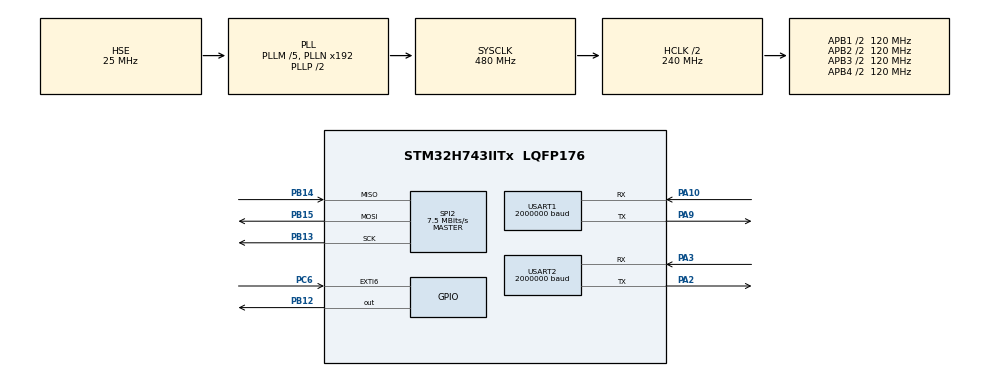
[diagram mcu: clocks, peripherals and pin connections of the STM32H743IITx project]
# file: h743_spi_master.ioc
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Dma.Request0=SPI2_RX
Dma.Request1=SPI2_TX
Dma.Request2=USART1_RX
Dma.Request3=USART1_TX
Dma.Request4=USART2_RX
Dma.Request5=USART2_TX
Dma.SPI2_RX.0.Direction=DMA_PERIPH_TO_MEMORY
Dma.SPI2_RX.0.EventEnable=DISABLE
Dma.SPI2_RX.0.FIFOMode=DMA_FIFOMODE_DISABLE
Dma.SPI2_RX.0.Instance=DMA1_Stream0
Dma.SPI2_RX.0.MemDataAlignment=DMA_MDATAALIGN_BYTE
Dma.SPI2_RX.0.MemInc=DMA_MINC_ENABLE
Dma.SPI2_RX.0.Mode=DMA_NORMAL
Dma.SPI2_RX.0.PeriphDataAlignment=DMA_PDATAALIGN_BYTE
Dma.SPI2_RX.0.PeriphInc=DMA_PINC_DISABLE
Dma.SPI2_RX.0.Polarity=HAL_DMAMUX_REQ_GEN_RISING
Dma.SPI2_RX.0.Priority=DMA_PRIORITY_LOW
Dma.SPI2_RX.0.RequestNumber=1
Dma.SPI2_RX.0.SignalID=NONE
Dma.SPI2_RX.0.SyncEnable=DISABLE
Dma.SPI2_RX.0.SyncPolarity=HAL_DMAMUX_SYNC_NO_EVENT
Dma.SPI2_RX.0.SyncRequestNumber=1
Dma.SPI2_RX.0.SyncSignalID=NONE
Dma.SPI2_TX.1.Direction=DMA_MEMORY_TO_PERIPH
Dma.SPI2_TX.1.EventEnable=DISABLE
Dma.SPI2_TX.1.FIFOMode=DMA_FIFOMODE_DISABLE
Dma.SPI2_TX.1.Instance=DMA1_Stream1
Dma.SPI2_TX.1.MemDataAlignment=DMA_MDATAALIGN_BYTE
Dma.SPI2_TX.1.MemInc=DMA_MINC_ENABLE
Dma.SPI2_TX.1.Mode=DMA_NORMAL
Dma.SPI2_TX.1.PeriphDataAlignment=DMA_PDATAALIGN_BYTE
Dma.SPI2_TX.1.PeriphInc=DMA_PINC_DISABLE
Dma.SPI2_TX.1.Polarity=HAL_DMAMUX_REQ_GEN_RISING
Dma.SPI2_TX.1.Priority=DMA_PRIORITY_LOW
Dma.SPI2_TX.1.RequestNumber=1
Dma.SPI2_TX.1.SignalID=NONE
Dma.SPI2_TX.1.SyncEnable=DISABLE
Dma.SPI2_TX.1.SyncPolarity=HAL_DMAMUX_SYNC_NO_EVENT
Dma.SPI2_TX.1.SyncRequestNumber=1
Dma.SPI2_TX.1.SyncSignalID=NONE
Dma.USART1_RX.2.Direction=DMA_PERIPH_TO_MEMORY
Dma.USART1_RX.2.EventEnable=DISABLE
Dma.USART1_RX.2.FIFOMode=DMA_FIFOMODE_DISABLE
Dma.USART1_RX.2.Instance=DMA1_Stream2
Dma.USART1_RX.2.MemDataAlignment=DMA_MDATAALIGN_BYTE
Dma.USART1_RX.2.MemInc=DMA_MINC_ENABLE
Dma.USART1_RX.2.Mode=DMA_NORMAL
Dma.USART1_RX.2.PeriphDataAlignment=DMA_PDATAALIGN_BYTE
Dma.USART1_RX.2.PeriphInc=DMA_PINC_DISABLE
Dma.USART1_RX.2.Polarity=HAL_DMAMUX_REQ_GEN_RISING
Dma.USART1_RX.2.Priority=DMA_PRIORITY_LOW
Dma.USART1_RX.2.RequestNumber=1
Dma.USART1_RX.2.SignalID=NONE
Dma.USART1_RX.2.SyncEnable=DISABLE
Dma.USART1_RX.2.SyncPolarity=HAL_DMAMUX_SYNC_NO_EVENT
Dma.USART1_RX.2.SyncRequestNumber=1
Dma.USART1_RX.2.SyncSignalID=NONE
Dma.USART1_TX.3.Direction=DMA_MEMORY_TO_PERIPH
Dma.USART1_TX.3.EventEnable=DISABLE
Dma.USART1_TX.3.FIFOMode=DMA_FIFOMODE_DISABLE
Dma.USART1_TX.3.Instance=DMA1_Stream3
Dma.USART1_TX.3.MemDataAlignment=DMA_MDATAALIGN_BYTE
Dma.USART1_TX.3.MemInc=DMA_MINC_ENABLE
Dma.USART1_TX.3.Mode=DMA_NORMAL
Dma.USART1_TX.3.PeriphDataAlignment=DMA_PDATAALIGN_BYTE
Dma.USART1_TX.3.PeriphInc=DMA_PINC_DISABLE
Dma.USART1_TX.3.Polarity=HAL_DMAMUX_REQ_GEN_RISING
Dma.USART1_TX.3.Priority=DMA_PRIORITY_LOW
Dma.USART1_TX.3.RequestNumber=1
Dma.USART1_TX.3.SignalID=NONE
Dma.USART1_TX.3.SyncEnable=DISABLE
Dma.USART1_TX.3.SyncPolarity=HAL_DMAMUX_SYNC_NO_EVENT
Dma.USART1_TX.3.SyncRequestNumber=1
Dma.USART1_TX.3.SyncSignalID=NONE
Dma.USART2_RX.4.Direction=DMA_PERIPH_TO_MEMORY
Dma.USART2_RX.4.EventEnable=DISABLE
Dma.USART2_RX.4.FIFOMode=DMA_FIFOMODE_DISABLE
Dma.USART2_RX.4.Instance=DMA1_Stream4
Dma.USART2_RX.4.MemDataAlignment=DMA_MDATAALIGN_BYTE
Dma.USART2_RX.4.MemInc=DMA_MINC_ENABLE
Dma.USART2_RX.4.Mode=DMA_NORMAL
Dma.USART2_RX.4.PeriphDataAlignment=DMA_PDATAALIGN_BYTE
Dma.USART2_RX.4.PeriphInc=DMA_PINC_DISABLE
Dma.USART2_RX.4.Polarity=HAL_DMAMUX_REQ_GEN_RISING
Dma.USART2_RX.4.Priority=DMA_PRIORITY_LOW
Dma.USART2_RX.4.RequestNumber=1
Dma.USART2_RX.4.SignalID=NONE
Dma.USART2_RX.4.SyncEnable=DISABLE
Dma.USART2_RX.4.SyncPolarity=HAL_DMAMUX_SYNC_NO_EVENT
Dma.USART2_RX.4.SyncRequestNumber=1
Dma.USART2_RX.4.SyncSignalID=NONE
Dma.USART2_TX.5.Direction=DMA_MEMORY_TO_PERIPH
Dma.USART2_TX.5.EventEnable=DISABLE
Dma.USART2_TX.5.FIFOMode=DMA_FIFOMODE_DISABLE
Dma.USART2_TX.5.Instance=DMA1_Stream5
Dma.USART2_TX.5.MemDataAlignment=DMA_MDATAALIGN_BYTE
Dma.USART2_TX.5.MemInc=DMA_MINC_ENABLE
Dma.USART2_TX.5.Mode=DMA_NORMAL
Dma.USART2_TX.5.PeriphDataAlignment=DMA_PDATAALIGN_BYTE
Dma.USART2_TX.5.PeriphInc=DMA_PINC_DISABLE
Dma.USART2_TX.5.Polarity=HAL_DMAMUX_REQ_GEN_RISING
Dma.USART2_TX.5.Priority=DMA_PRIORITY_LOW
Dma.USART2_TX.5.RequestNumber=1
Dma.USART2_TX.5.SignalID=NONE
Dma.USART2_TX.5.SyncEnable=DISABLE
Dma.USART2_TX.5.SyncPolarity=HAL_DMAMUX_SYNC_NO_EVENT
Dma.USART2_TX.5.SyncRequestNumber=1
Dma.USART2_TX.5.SyncSignalID=NONE
Mcu.Family=STM32H7
Mcu.Name=STM32H743IITx
Mcu.Package=LQFP176
NVIC.DMA1_Stream0_IRQn=true\:0\:0\:false\:false\:true\:false\:true\:true
NVIC.DMA1_Stream1_IRQn=true\:0\:0\:false\:false\:true\:false\:true\:true
NVIC.DMA1_Stream2_IRQn=true\:0\:0\:false\:false\:true\:false\:true\:true
NVIC.DMA1_Stream3_IRQn=true\:0\:0\:false\:false\:true\:false\:true\:true
NVIC.DMA1_Stream4_IRQn=true\:0\:0\:false\:false\:true\:false\:true\:true
NVIC.DMA1_Stream5_IRQn=true\:0\:0\:false\:false\:true\:false\:true\:true
NVIC.EXTI9_5_IRQn=true\:0\:0\:false\:false\:true\:true\:true\:true
NVIC.PriorityGroup=NVIC_PRIORITYGROUP_4
NVIC.SPI2_IRQn=true\:0\:0\:false\:false\:true\:false\:true\:true
NVIC.USART1_IRQn=true\:0\:0\:false\:false\:true\:true\:true\:true
NVIC.USART2_IRQn=true\:0\:0\:false\:false\:true\:true\:true\:true
PA10.Mode=Asynchronous
PA10.Signal=USART1_RX
PA13\ (JTMS/SWDIO).Mode=Serial_Wire
PA13\ (JTMS/SWDIO).Signal=DEBUG_JTMS-SWDIO
PA14\ (JTCK/SWCLK).Mode=Serial_Wire
PA14\ (JTCK/SWCLK).Signal=DEBUG_JTCK-SWCLK
PA2.GPIO_PuPd=GPIO_NOPULL
PA2.GPIO_Speed=GPIO_SPEED_FREQ_LOW
PA2.Mode=Asynchronous
PA2.Signal=USART2_TX
PA3.GPIO_PuPd=GPIO_NOPULL
PA3.GPIO_Speed=GPIO_SPEED_FREQ_LOW
PA3.Mode=Asynchronous
PA3.Signal=USART2_RX
PA9.Mode=Asynchronous
PA9.Signal=USART1_TX
PB12.GPIO_PuPd=GPIO_PULLDOWN
PB12.GPIO_Speed=GPIO_SPEED_FREQ_VERY_HIGH
PB12.PinState=GPIO_PIN_SET
PB12.Signal=GPIO_Output
PB13.Mode=Full_Duplex_Master
PB13.Signal=SPI2_SCK
PB14.Mode=Full_Duplex_Master
PB14.Signal=SPI2_MISO
PB15.Mode=Full_Duplex_Master
PB15.Signal=SPI2_MOSI
PC6.Signal=GPXTI6
PH0-OSC_IN\ (PH0).Mode=HSE-External-Oscillator
PH0-OSC_IN\ (PH0).Signal=RCC_OSC_IN
PH1-OSC_OUT\ (PH1).Mode=HSE-External-Oscillator
PH1-OSC_OUT\ (PH1).Signal=RCC_OSC_OUT
ProjectManager.HeapSize=0x200
ProjectManager.StackSize=0x400
ProjectManager.TargetToolchain=STM32CubeIDE
RCC.ADCFreq_Value=50390625
RCC.APB1Freq_Value=120000000
RCC.APB2Freq_Value=120000000
RCC.APB3Freq_Value=120000000
RCC.APB4Freq_Value=120000000
RCC.CortexFreq_Value=480000000
RCC.D1PPRE=RCC_APB3_DIV2
RCC.D2PPRE1=RCC_APB1_DIV2
RCC.D2PPRE2=RCC_APB2_DIV2
RCC.D3PPRE=RCC_APB4_DIV2
RCC.DIVM1=5
RCC.DIVN1=192
RCC.DIVQ1=8
RCC.DIVR1=5
RCC.EnbaleCSS=true
RCC.HCLKFreq_Value=240000000
RCC.HPRE=RCC_HCLK_DIV2
RCC.PLLFRACN=0
RCC.PLLSourceVirtual=RCC_PLLSOURCE_HSE
RCC.SYSCLKFreq_VALUE=480000000
RCC.SYSCLKSource=RCC_SYSCLKSOURCE_PLLCLK
RCC.USBFreq_Value=120000000
SPI2.BaudRatePrescaler=SPI_BAUDRATEPRESCALER_16
SPI2.CLKPolarity=SPI_POLARITY_HIGH
SPI2.CalculateBaudRate=7.5 MBits/s
SPI2.DataSize=SPI_DATASIZE_8BIT
SPI2.Direction=SPI_DIRECTION_2LINES
SPI2.Mode=SPI_MODE_MASTER
SPI2.VirtualType=VM_MASTER
USART1.BaudRate=2000000
USART1.VirtualMode-Asynchronous=VM_ASYNC
USART2.BaudRate=2000000
USART2.VirtualMode-Asynchronous=VM_ASYNC
board=custom

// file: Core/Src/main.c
/* USER CODE BEGIN Header */
/**
  ******************************************************************************
  * @file           : main.c
  * @brief          : Main program body
  ******************************************************************************
  * @attention
  *
  * Copyright (c) 2022 STMicroelectronics.
  * All rights reserved.
  *
  * This software is licensed under terms that can be found in the LICENSE file
  * in the root directory of this software component.
  * If no LICENSE file comes with this software, it is provided AS-IS.
  *
  ******************************************************************************
  */
/* USER CODE END Header */
#include "main.h"

/* USER CODE BEGIN Includes */
#include <string.h>
#include <stdarg.h>
#include <stdio.h>
#include <stdlib.h>
#include <stdbool.h>
/* USER CODE END Includes */

/* USER CODE BEGIN PD */
#define UART_RX_MAX_LEN (3000u)
// 震动数据接收缓存，每个点9bytes, 收满500个点发�?�一次数�??????????
#define XL355_SAMPLE_COUNT      (90 * 50)
#define PACK_LEN	(19)
// 200是为添加的包头和校验码留的空�??????????
#define  ARRAYSIZE         (XL355_SAMPLE_COUNT + 200)

typedef enum {
    LOG_LEVEL_DEBUG = 1,
    LOG_LEVEL_INFO = 2,
    LOG_LEVEL_WARN = 3,
    LOG_LEVEL_ERROR = 4,
    LOG_LEVEL_NONE = 5
} log_level_e;

/* USER CODE END PD */

SPI_HandleTypeDef hspi2;
DMA_HandleTypeDef hdma_spi2_rx;
DMA_HandleTypeDef hdma_spi2_tx;

UART_HandleTypeDef huart1;
UART_HandleTypeDef huart2;
DMA_HandleTypeDef hdma_usart1_rx;
DMA_HandleTypeDef hdma_usart1_tx;
DMA_HandleTypeDef hdma_usart2_rx;
DMA_HandleTypeDef hdma_usart2_tx;

/* USER CODE BEGIN PV */
uint8_t spi_recv_buffer[ARRAYSIZE] = {0};
uint8_t spi_send_buffer[ARRAYSIZE] = {"SUCCESS"};
const uint16_t recv_len = (XL355_SAMPLE_COUNT + PACK_LEN);
// 发�?�震动数据的buffer
uint8_t sensor_data[ARRAYSIZE] = {0};
// 从xl355寄存器读�??????????次温度传感器�?????????? xyz 3轴的震动数据用的buffer
uint8_t spi_read_reg_array[12] = {0};

int xl355_fifo_full_flag = 0;
/* USER CODE END PV */

void SystemClock_Config(void);
static void MX_GPIO_Init(void);
static void MX_SPI2_Init(void);
static void MX_DMA_Init(void);
static void MX_USART1_UART_Init(void);
static void MX_USART2_UART_Init(void);
/* USER CODE BEGIN PFP */
float adxl355_conversion_acc_data(uint8_t *data);
//int log_message(log_level_e level, const char *level_str, const char *fmt, ...);
int log_binary(log_level_e level, const char *fmt, ...);
char *my_basename(char *s);
int log_print(void);
uint32_t adler32(uint8_t *buf, uint32_t len);
int unpackage_xl355_raw_data(uint8_t *in_buf, uint8_t *out_buff, uint16_t in_len);

/* USER CODE END PFP */

/* USER CODE BEGIN 0 */

//#define LOG_ERROR(fmt, args...) log_message(LOG_LEVEL_ERROR, "error", fmt, ##args)
//#define LOG_WARN(fmt, args...) log_message(LOG_LEVEL_WARN, "warn", fmt, ##args)
//#define LOG_INFO(fmt, args...) log_message(LOG_LEVEL_INFO, "info", fmt, ##args)
//#define LOG_DEBUG(fmt, args...) log_message(LOG_LEVEL_DEBUG, "debug", fmt, ##args)
#define LOG_BINARY(fmt, args...) log_binary(LOG_LEVEL_DEBUG, fmt, ##args)

//#define PRINT_ERROR(fmt, args...)  LOG_ERROR("[MAIN]%s Line %d: "fmt, my_basename(__FILE__), __LINE__, ##args)
//#define PRINT_WARN(fmt, args...)   LOG_WARN("[MAIN]%s Line %d: "fmt, my_basename(__FILE__), __LINE__, ##args)
//#define PRINT_INFO(fmt, args...)   LOG_INFO("[MAIN]%s Line %d: "fmt, my_basename(__FILE__), __LINE__, ##args)
//#define PRINT_DEBUG(fmt, args...)  LOG_DEBUG("[MAIN]%s Line %d: "fmt, my_basename(__FILE__), __LINE__, ##args)
#define PRINT_BIN(fmt, args...)    LOG_BINARY("[MAIN]%s Line %d: "fmt, my_basename(__FILE__), __LINE__, ##args)
/* USER CODE END 0 */

int main(void)
{
  /* USER CODE BEGIN 1 */
	HAL_StatusTypeDef ret;
	int i;
	int data_len;
	float x,y,z;
	uint32_t succ_count = 0, fail_count = 0;
  /* USER CODE END 1 */

  /* MCU Configuration--------------------------------------------------------*/

  /* Reset of all peripherals, Initializes the Flash interface and the Systick. */
  HAL_Init();

  /* Configure the system clock */
  SystemClock_Config();

  /* Initialize all configured peripherals */
  MX_GPIO_Init();
  MX_DMA_Init();
  MX_SPI2_Init();
  MX_USART1_UART_Init();
  MX_USART2_UART_Init();
  /* USER CODE BEGIN 2 */
  PRINT_BIN("start app\r\n");
  log_print();
  /* USER CODE END 2 */

  /* Infinite loop */
  /* USER CODE BEGIN WHILE */
//  HAL_GPIO_WritePin(GPIOB, GPIO_PIN_12, GPIO_PIN_RESET);
  while (1)
  {
    /* USER CODE END WHILE */

    /* USER CODE BEGIN 3 */
	  if (xl355_fifo_full_flag > 0)
	  {
		  PRINT_BIN("xl355_fifo_full_flag:%d\r\n", xl355_fifo_full_flag);
		  HAL_GPIO_WritePin(GPIOB, GPIO_PIN_12, GPIO_PIN_RESET);
		  ret = HAL_SPI_Receive(&hspi2, spi_recv_buffer, recv_len, 1000);
		  HAL_GPIO_WritePin(GPIOB, GPIO_PIN_12, GPIO_PIN_SET);
		  if (ret != HAL_OK)
		  {
			  PRINT_BIN("SPI SEND FAIL:%d\r\n", ret);
			  fail_count++;
		  }
		  else
		  {
		      HAL_UART_Transmit_DMA(&huart2, spi_recv_buffer, recv_len);
			  data_len = unpackage_xl355_raw_data(spi_recv_buffer, sensor_data, recv_len);
			  if (data_len < 0)
			  {
				  PRINT_BIN("sensor data len error\r\n");
				  fail_count++;
			  }
			  else
			  {
				  i = 0;
				  succ_count++;
//				  for (i = 0; i < data_len; i+=9)
				  {
					  if ((sensor_data[i+2] & 0x01) == 0x01)
					  {
						  x = adxl355_conversion_acc_data(&sensor_data[i]);
						  y = adxl355_conversion_acc_data(&sensor_data[i+3]);
						  z = adxl355_conversion_acc_data(&sensor_data[i+6]);
						  PRINT_BIN("[%u]accx:%0.2f\t accy:%0.2f\t accz:%0.2f[%u]\r\n", succ_count, x, y, z, fail_count);
					  }
				  }
			  }
		  }
		  xl355_fifo_full_flag = 0;
	  }
	  log_print();
  }
  /* USER CODE END 3 */
}

void SystemClock_Config(void)
{
  RCC_OscInitTypeDef RCC_OscInitStruct = {0};
  RCC_ClkInitTypeDef RCC_ClkInitStruct = {0};

  /** Supply configuration update enable
  */
  HAL_PWREx_ConfigSupply(PWR_LDO_SUPPLY);

  /** Configure the main internal regulator output voltage
  */
  __HAL_PWR_VOLTAGESCALING_CONFIG(PWR_REGULATOR_VOLTAGE_SCALE1);

  while(!__HAL_PWR_GET_FLAG(PWR_FLAG_VOSRDY)) {}

  __HAL_RCC_SYSCFG_CLK_ENABLE();
  __HAL_PWR_VOLTAGESCALING_CONFIG(PWR_REGULATOR_VOLTAGE_SCALE0);

  while(!__HAL_PWR_GET_FLAG(PWR_FLAG_VOSRDY)) {}

  /** Initializes the RCC Oscillators according to the specified parameters
  * in the RCC_OscInitTypeDef structure.
  */
  RCC_OscInitStruct.OscillatorType = RCC_OSCILLATORTYPE_HSE;
  RCC_OscInitStruct.HSEState = RCC_HSE_ON;
  RCC_OscInitStruct.PLL.PLLState = RCC_PLL_ON;
  RCC_OscInitStruct.PLL.PLLSource = RCC_PLLSOURCE_HSE;
  RCC_OscInitStruct.PLL.PLLM = 5;
  RCC_OscInitStruct.PLL.PLLN = 192;
  RCC_OscInitStruct.PLL.PLLP = 2;
  RCC_OscInitStruct.PLL.PLLQ = 8;
  RCC_OscInitStruct.PLL.PLLR = 5;
  RCC_OscInitStruct.PLL.PLLRGE = RCC_PLL1VCIRANGE_2;
  RCC_OscInitStruct.PLL.PLLVCOSEL = RCC_PLL1VCOWIDE;
  RCC_OscInitStruct.PLL.PLLFRACN = 0;
  if (HAL_RCC_OscConfig(&RCC_OscInitStruct) != HAL_OK)
  {
    Error_Handler();
  }

  /** Initializes the CPU, AHB and APB buses clocks
  */
  RCC_ClkInitStruct.ClockType = RCC_CLOCKTYPE_HCLK|RCC_CLOCKTYPE_SYSCLK
                              |RCC_CLOCKTYPE_PCLK1|RCC_CLOCKTYPE_PCLK2
                              |RCC_CLOCKTYPE_D3PCLK1|RCC_CLOCKTYPE_D1PCLK1;
  RCC_ClkInitStruct.SYSCLKSource = RCC_SYSCLKSOURCE_PLLCLK;
  RCC_ClkInitStruct.SYSCLKDivider = RCC_SYSCLK_DIV1;
  RCC_ClkInitStruct.AHBCLKDivider = RCC_HCLK_DIV2;
  RCC_ClkInitStruct.APB3CLKDivider = RCC_APB3_DIV2;
  RCC_ClkInitStruct.APB1CLKDivider = RCC_APB1_DIV2;
  RCC_ClkInitStruct.APB2CLKDivider = RCC_APB2_DIV2;
  RCC_ClkInitStruct.APB4CLKDivider = RCC_APB4_DIV2;

  if (HAL_RCC_ClockConfig(&RCC_ClkInitStruct, FLASH_LATENCY_4) != HAL_OK)
  {
    Error_Handler();
  }

  /** Enables the Clock Security System
  */
  HAL_RCC_EnableCSS();
}

static void MX_SPI2_Init(void)
{

  /* SPI2 parameter configuration*/
  hspi2.Instance = SPI2;
  hspi2.Init.Mode = SPI_MODE_MASTER;
  hspi2.Init.Direction = SPI_DIRECTION_2LINES;
  hspi2.Init.DataSize = SPI_DATASIZE_8BIT;
  hspi2.Init.CLKPolarity = SPI_POLARITY_HIGH;
  hspi2.Init.CLKPhase = SPI_PHASE_1EDGE;
  hspi2.Init.NSS = SPI_NSS_SOFT;
  hspi2.Init.BaudRatePrescaler = SPI_BAUDRATEPRESCALER_16;
  hspi2.Init.FirstBit = SPI_FIRSTBIT_MSB;
  hspi2.Init.TIMode = SPI_TIMODE_DISABLE;
  hspi2.Init.CRCCalculation = SPI_CRCCALCULATION_DISABLE;
  hspi2.Init.CRCPolynomial = 0x0;
  hspi2.Init.NSSPMode = SPI_NSS_PULSE_ENABLE;
  hspi2.Init.NSSPolarity = SPI_NSS_POLARITY_LOW;
  hspi2.Init.FifoThreshold = SPI_FIFO_THRESHOLD_01DATA;
  hspi2.Init.TxCRCInitializationPattern = SPI_CRC_INITIALIZATION_ALL_ZERO_PATTERN;
  hspi2.Init.RxCRCInitializationPattern = SPI_CRC_INITIALIZATION_ALL_ZERO_PATTERN;
  hspi2.Init.MasterSSIdleness = SPI_MASTER_SS_IDLENESS_00CYCLE;
  hspi2.Init.MasterInterDataIdleness = SPI_MASTER_INTERDATA_IDLENESS_00CYCLE;
  hspi2.Init.MasterReceiverAutoSusp = SPI_MASTER_RX_AUTOSUSP_DISABLE;
  hspi2.Init.MasterKeepIOState = SPI_MASTER_KEEP_IO_STATE_DISABLE;
  hspi2.Init.IOSwap = SPI_IO_SWAP_DISABLE;
  if (HAL_SPI_Init(&hspi2) != HAL_OK)
  {
    Error_Handler();
  }

}

static void MX_USART1_UART_Init(void)
{

  huart1.Instance = USART1;
  huart1.Init.BaudRate = 2000000;
  huart1.Init.WordLength = UART_WORDLENGTH_8B;
  huart1.Init.StopBits = UART_STOPBITS_1;
  huart1.Init.Parity = UART_PARITY_NONE;
  huart1.Init.Mode = UART_MODE_TX_RX;
  huart1.Init.HwFlowCtl = UART_HWCONTROL_NONE;
  huart1.Init.OverSampling = UART_OVERSAMPLING_16;
  huart1.Init.OneBitSampling = UART_ONE_BIT_SAMPLE_DISABLE;
  huart1.Init.ClockPrescaler = UART_PRESCALER_DIV1;
  huart1.AdvancedInit.AdvFeatureInit = UART_ADVFEATURE_NO_INIT;
  if (HAL_UART_Init(&huart1) != HAL_OK)
  {
    Error_Handler();
  }
  if (HAL_UARTEx_SetTxFifoThreshold(&huart1, UART_TXFIFO_THRESHOLD_1_8) != HAL_OK)
  {
    Error_Handler();
  }
  if (HAL_UARTEx_SetRxFifoThreshold(&huart1, UART_RXFIFO_THRESHOLD_1_8) != HAL_OK)
  {
    Error_Handler();
  }
  if (HAL_UARTEx_DisableFifoMode(&huart1) != HAL_OK)
  {
    Error_Handler();
  }

}

static void MX_USART2_UART_Init(void)
{

  huart2.Instance = USART2;
  huart2.Init.BaudRate = 2000000;
  huart2.Init.WordLength = UART_WORDLENGTH_8B;
  huart2.Init.StopBits = UART_STOPBITS_1;
  huart2.Init.Parity = UART_PARITY_NONE;
  huart2.Init.Mode = UART_MODE_TX_RX;
  huart2.Init.HwFlowCtl = UART_HWCONTROL_NONE;
  huart2.Init.OverSampling = UART_OVERSAMPLING_16;
  huart2.Init.OneBitSampling = UART_ONE_BIT_SAMPLE_DISABLE;
  huart2.Init.ClockPrescaler = UART_PRESCALER_DIV1;
  huart2.AdvancedInit.AdvFeatureInit = UART_ADVFEATURE_NO_INIT;
  if (HAL_UART_Init(&huart2) != HAL_OK)
  {
    Error_Handler();
  }
  if (HAL_UARTEx_SetTxFifoThreshold(&huart2, UART_TXFIFO_THRESHOLD_1_8) != HAL_OK)
  {
    Error_Handler();
  }
  if (HAL_UARTEx_SetRxFifoThreshold(&huart2, UART_RXFIFO_THRESHOLD_1_8) != HAL_OK)
  {
    Error_Handler();
  }
  if (HAL_UARTEx_DisableFifoMode(&huart2) != HAL_OK)
  {
    Error_Handler();
  }

}

static void MX_DMA_Init(void)
{

  /* DMA controller clock enable */
  __HAL_RCC_DMA1_CLK_ENABLE();

  /* DMA interrupt init */
  /* DMA1_Stream0_IRQn interrupt configuration */
  HAL_NVIC_SetPriority(DMA1_Stream0_IRQn, 0, 0);
  HAL_NVIC_EnableIRQ(DMA1_Stream0_IRQn);
  /* DMA1_Stream1_IRQn interrupt configuration */
  HAL_NVIC_SetPriority(DMA1_Stream1_IRQn, 0, 0);
  HAL_NVIC_EnableIRQ(DMA1_Stream1_IRQn);
  /* DMA1_Stream2_IRQn interrupt configuration */
  HAL_NVIC_SetPriority(DMA1_Stream2_IRQn, 0, 0);
  HAL_NVIC_EnableIRQ(DMA1_Stream2_IRQn);
  /* DMA1_Stream3_IRQn interrupt configuration */
  HAL_NVIC_SetPriority(DMA1_Stream3_IRQn, 0, 0);
  HAL_NVIC_EnableIRQ(DMA1_Stream3_IRQn);
  /* DMA1_Stream4_IRQn interrupt configuration */
  HAL_NVIC_SetPriority(DMA1_Stream4_IRQn, 0, 0);
  HAL_NVIC_EnableIRQ(DMA1_Stream4_IRQn);
  /* DMA1_Stream5_IRQn interrupt configuration */
  HAL_NVIC_SetPriority(DMA1_Stream5_IRQn, 0, 0);
  HAL_NVIC_EnableIRQ(DMA1_Stream5_IRQn);

}

static void MX_GPIO_Init(void)
{
  GPIO_InitTypeDef GPIO_InitStruct = {0};

  /* GPIO Ports Clock Enable */
  __HAL_RCC_GPIOH_CLK_ENABLE();
  __HAL_RCC_GPIOA_CLK_ENABLE();
  __HAL_RCC_GPIOB_CLK_ENABLE();
  __HAL_RCC_GPIOC_CLK_ENABLE();

  /*Configure GPIO pin Output Level */
  HAL_GPIO_WritePin(GPIOB, GPIO_PIN_12, GPIO_PIN_SET);

  /*Configure GPIO pin : PB12 */
  GPIO_InitStruct.Pin = GPIO_PIN_12;
  GPIO_InitStruct.Mode = GPIO_MODE_OUTPUT_PP;
  GPIO_InitStruct.Pull = GPIO_PULLDOWN;
  GPIO_InitStruct.Speed = GPIO_SPEED_FREQ_VERY_HIGH;
  HAL_GPIO_Init(GPIOB, &GPIO_InitStruct);

  /*Configure GPIO pin : PC6 */
  GPIO_InitStruct.Pin = GPIO_PIN_6;
  GPIO_InitStruct.Mode = GPIO_MODE_IT_RISING;
  GPIO_InitStruct.Pull = GPIO_NOPULL;
  HAL_GPIO_Init(GPIOC, &GPIO_InitStruct);

  /* EXTI interrupt init*/
  HAL_NVIC_SetPriority(EXTI9_5_IRQn, 0, 0);
  HAL_NVIC_EnableIRQ(EXTI9_5_IRQn);

}

/* USER CODE BEGIN 4 */
float adxl355_conversion_acc_data(uint8_t *data)
{
  	uint32_t acc_raw;      // register data
    int32_t acc_actual;    //
    float acc_float;       //

    acc_raw = (((data[0] << 16) | (data[1] << 8) | data[2]) >> 4);

    if(acc_raw >= 0x80000)
    {
        acc_actual = -((~acc_raw & 0x3FFFF) + 1);
    }
    else
    {
        acc_actual = acc_raw;
    }

    acc_float = acc_actual * 0.0039; // 2g: scale factor 3.9 ug/LSB
    // acc_float = acc_actual * 0.0039; // 4g: scale factor 7.8 ug/LSB
    // acc_float = acc_actual * 0.0039; // 8g: scale factor 15.6 ug/LSB

    return acc_float;
}

void HAL_GPIO_EXTI_Callback(uint16_t GPIO_Pin)
{
	if (GPIO_Pin == GPIO_PIN_6)
	{
		xl355_fifo_full_flag++;
	}
}

#define BASE 65521
uint32_t adler32(uint8_t *buf, uint32_t len)
{

   uint32_t adler = 1;
   uint32_t s1    = (adler >> 0) & 0xFFFF;
   uint32_t s2    = (adler >> 16) & 0xFFFF;
   uint32_t i;

   for (i = 0; i < len; i++)
   {
      s1 = (s1 + buf[i]) % BASE;
      s2 = (s2 + s1) % BASE;
//      printf("s2:%#x, s1:%#x\n", s2, s1);
   }

   return (s2 << 16) + s1;
}

int unpackage_xl355_raw_data(uint8_t *in_buf, uint8_t *out_buff, uint16_t in_len)
{
    int pack_content_len = 0;
    int raw_data_len = 0;
    uint8_t cmd = 0;
    uint32_t adler32_check_sum = 0;
    uint32_t adler32_code = 0;
    uint32_t microseconds;
    uint32_t seconds;

    if (in_buf[0] != 0xEF || in_buf[1] != 0xEF)
    {
    	PRINT_BIN("header not right %#x %#x\r\n", in_buf[0], in_buf[1]);
    	return -1;
    }

    pack_content_len = ((in_buf[2] << 24) | (in_buf[3] << 16) | (in_buf[4] << 8) | in_buf[5]);
    if (pack_content_len <= 9 || in_len < pack_content_len)
    {
    	PRINT_BIN("content len not right %#x : %#x\r\n", pack_content_len, in_len);
    	return -1;
    }
    raw_data_len = pack_content_len - 9;
    PRINT_BIN("raw data len %d\r\n", raw_data_len);

    adler32_code = ((in_buf[in_len - 4] << 24) | (in_buf[in_len - 3] << 16) | (in_buf[in_len - 2] << 8) | in_buf[in_len - 1]);
    adler32_check_sum = adler32(in_buf, in_len - 4);

    if (adler32_code != adler32_check_sum)
    {
    	PRINT_BIN("adler32 code not equal %#x:%#x\r\n", adler32_code, adler32_check_sum);
    	return -1;
    }

    cmd = in_buf[6];
    PRINT_BIN("cmd: %#x\r\n", cmd);

    seconds      = ((in_buf[7] << 24)  | (in_buf[8] << 16)  | (in_buf[9] << 8)  | in_buf[10]);
    microseconds = ((in_buf[11] << 24) | (in_buf[12] << 16) | (in_buf[13] << 8) | in_buf[14]);
    PRINT_BIN("time:%u.%u\r\n", seconds, microseconds/1000);

    memcpy(out_buff, &in_buf[15], raw_data_len);

    return raw_data_len;
}

/* ------------my log function---------------- */
#define MAX_ONE_LOG_SIZE   (250)									// length of one log message
#define MAX_LOG_BUFF_SIZE  (MAX_ONE_LOG_SIZE * 30) // total buffer length of log

char log_msg_buf[MAX_LOG_BUFF_SIZE];
char log_msg_send[MAX_LOG_BUFF_SIZE];
uint16_t log_msg_len = 0;  //needn`t mutex

char *my_basename(char *s)
{
    char *p_ret;
    p_ret = strrchr(s, '/');
    if (p_ret)
    {
        return (p_ret + 1);
    }
    return s;
}

/*int log_message(log_level_e level, const char *level_str, const char *fmt, ...)
{
    char msg_buf[MAX_ONE_LOG_SIZE] = {0};
    int len = 0;

    va_list ap;
    RTC_DateTypeDef rtc_date;
    RTC_TimeTypeDef rtc_time;

    if (level < LOG_LEVEL_DEBUG)
    {
        return 0;
    }

    if (log_msg_len+100 >= MAX_LOG_BUFF_SIZE)
    {
      return 1;
    }
    HAL_RTC_GetTime_and_Date(&rtc_date, &rtc_time);

    len = snprintf(msg_buf, MAX_ONE_LOG_SIZE, "%4u/%02u/%02u %02u:%02u:%02u.%03u[%5.5s] ",
                                    (2000 + rtc_date.Year), rtc_date.Month, rtc_date.Date, \
		rtc_time.Hours, rtc_time.Minutes, rtc_time.Seconds, ((sys_run.time_5ms_count%200) * 5), level_str); // todo : how to get ms
    va_start(ap, fmt);
    len += vsnprintf(&msg_buf[len], (MAX_ONE_LOG_SIZE - len), fmt, ap);
    va_end(ap);

    if (len > 0)
    {
      if ((log_msg_len + len) < MAX_LOG_BUFF_SIZE)
      {
        memcpy(&log_msg_buf[log_msg_len], msg_buf, len);
        log_msg_len += len;
        return 0;
      }
      else
      {
        log_msg_buf[log_msg_len] = 0;
        log_msg_len = MAX_LOG_BUFF_SIZE;
      }
    }

    return -1;
}*/

int log_binary(log_level_e level, const char *fmt, ...)
{
    va_list ap;
    char msg_buf[MAX_ONE_LOG_SIZE] = {0};
    int len = 0;

    if (level < LOG_LEVEL_DEBUG)
    {
        return 0;
    }

    if (log_msg_len+100 >= MAX_LOG_BUFF_SIZE)
    {
      return 1;
    }

    va_start(ap, fmt);
    len = vsnprintf((char *)msg_buf, MAX_ONE_LOG_SIZE, fmt, ap);
    va_end(ap);

    if (len > 0)
    {
      if ((log_msg_len + len) < MAX_LOG_BUFF_SIZE)
      {
        memcpy(&log_msg_buf[log_msg_len], msg_buf, len);
        log_msg_len += len;
        return 0;
      }
      else
      {
        log_msg_buf[log_msg_len] = 0;
        log_msg_len = MAX_LOG_BUFF_SIZE;
      }
    }

    return -1;
}

int log_print(void)
{
    if (log_msg_len > 0)
    {
        memcpy(log_msg_send, log_msg_buf, MAX_LOG_BUFF_SIZE);
        HAL_UART_Transmit_DMA(&huart1, (uint8_t *)log_msg_send, strlen(log_msg_send));
        memset(log_msg_buf, 0x0, MAX_LOG_BUFF_SIZE);
        log_msg_len = 0;
        return 0;
    }
    return -1;
}

/* USER CODE END 4 */

void Error_Handler(void)
{
  __disable_irq();
  while (1)
  {
  }
}
